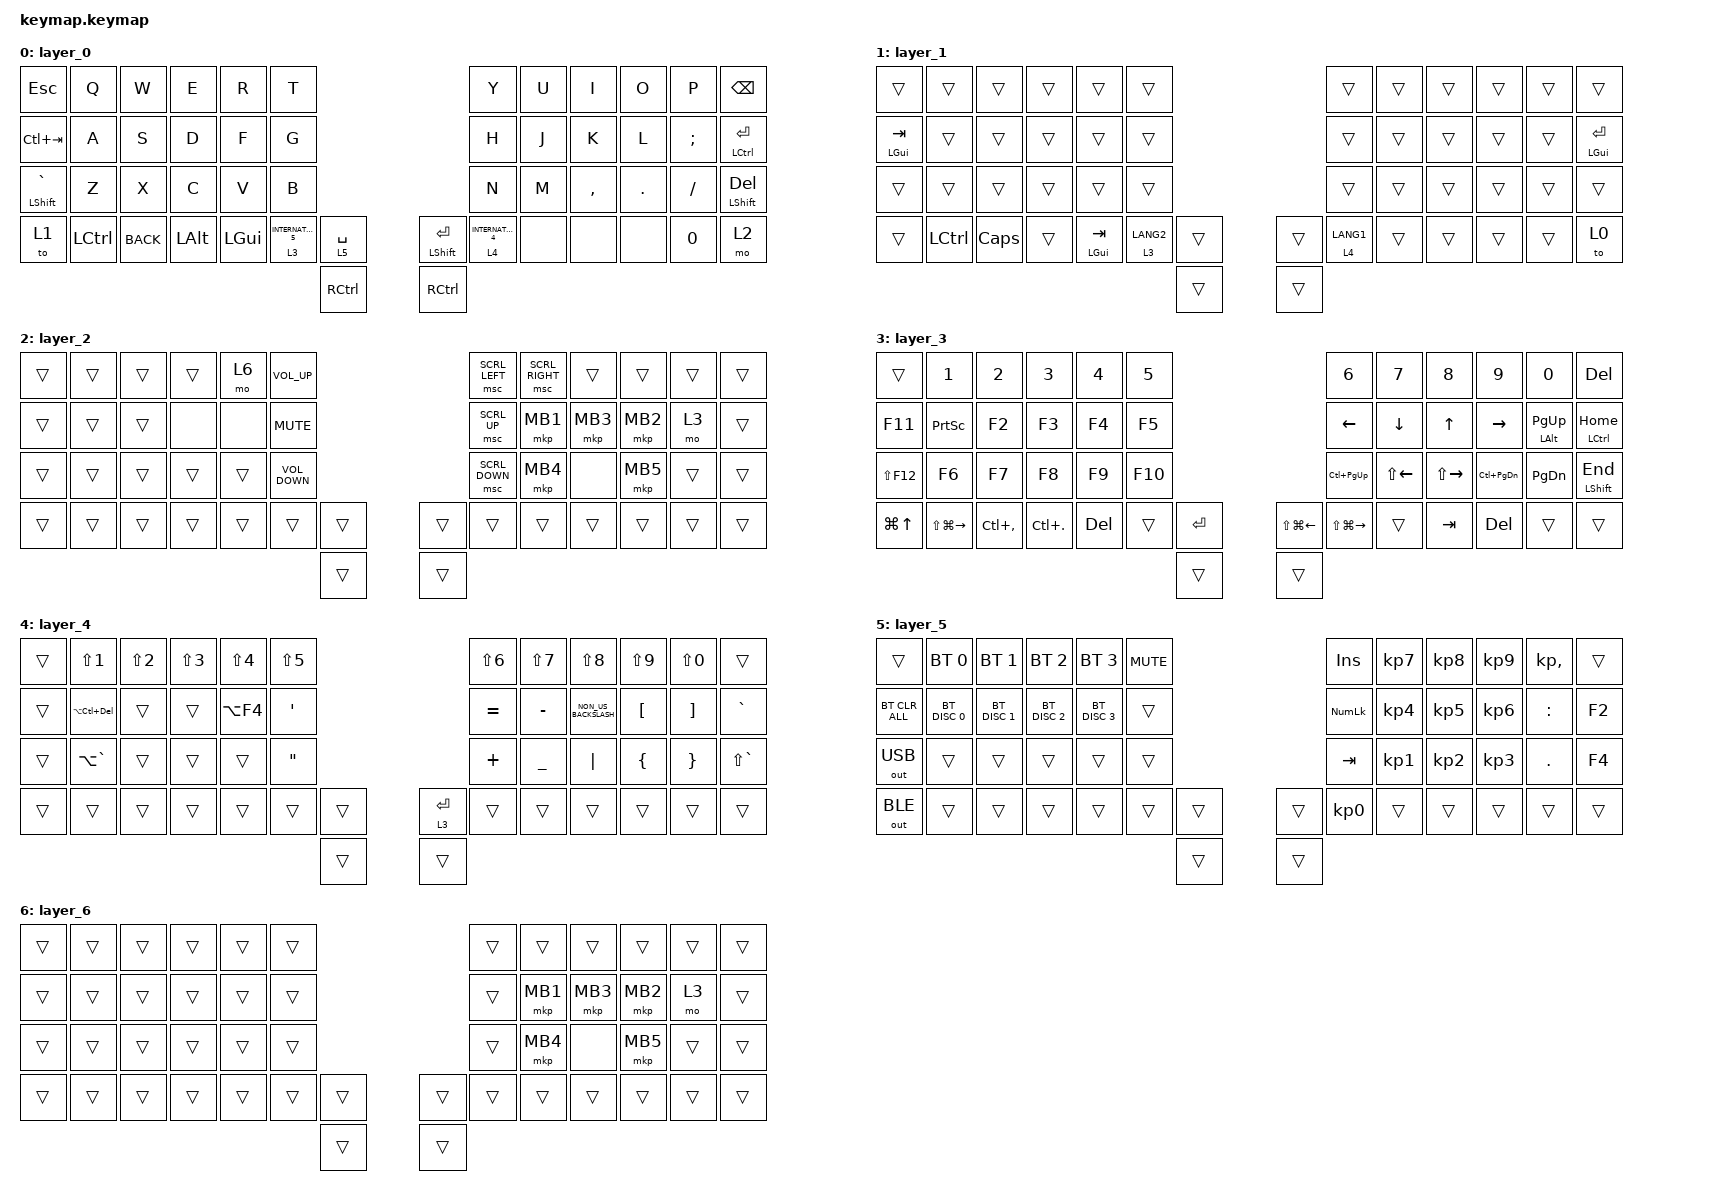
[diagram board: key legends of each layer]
#include <behaviors.dtsi>
#include <dt-bindings/zmk/bt.h>
#include <dt-bindings/zmk/keys.h>
#include <dt-bindings/zmk/outputs.h>
#include <dt-bindings/zmk/pointing.h>

/ {
    combos {
        compatible = "zmk,combos";

        bt_clear {
            bindings = <&bt BT_CLR>;
            key-positions = <28 29>;
            layers = <2>;
        };
    };

    keymap {
        compatible = "zmk,keymap";

        layer_0 {
            bindings = <
&kp ESC               &kp Q             &kp W       &kp E         &kp R     &kp T                                                     &kp Y                  &kp U  &kp I      &kp O       &kp P      &kp BSPC
&kp LC(TAB)           &kp A             &kp S       &kp D         &kp F     &kp G                                                     &kp H                  &kp J  &kp K      &kp L       &kp SEMI   &mt LEFT_CONTROL ENTER
&mt LEFT_SHIFT GRAVE  &kp Z             &kp X       &kp C         &kp V     &kp B                                                     &kp N                  &kp M  &kp COMMA  &kp PERIOD  &kp SLASH  &mt LEFT_SHIFT DELETE
&to 1                 &kp LEFT_CONTROL  &kp K_BACK  &kp LEFT_ALT  &kp LGUI  &lt 3 INTERNATIONAL_5  &lt 5 SPACE  &mt LEFT_SHIFT ENTER  &lt 4 INTERNATIONAL_4  &none  &none      &none       &kp N0     &mo 2
&kp RCTRL             &kp RCTRL
            >;
        };

        layer_1 {
            bindings = <
&trans            &trans            &trans        &trans  &trans            &trans                       &trans       &trans  &trans  &trans  &trans  &trans
&mt LEFT_GUI TAB  &trans            &trans        &trans  &trans            &trans                       &trans       &trans  &trans  &trans  &trans  &mt LEFT_GUI ENTER
&trans            &trans            &trans        &trans  &trans            &trans                       &trans       &trans  &trans  &trans  &trans  &trans
&trans            &kp LEFT_CONTROL  &kp CAPSLOCK  &trans  &mt LEFT_GUI TAB  &lt 3 LANG2  &trans  &trans  &lt 4 LANG1  &trans  &trans  &trans  &trans  &to 0
&trans            &trans
            >;
        };

        layer_2 {
            bindings = <
&trans  &trans  &trans  &trans  &mo 6   &kp C_VOLUME_UP                    &msc SCRL_LEFT  &msc SCRL_RIGHT  &trans    &trans    &trans  &trans
&trans  &trans  &trans  &none   &none   &kp K_MUTE                         &msc SCRL_UP    &mkp MB1         &mkp MB3  &mkp MB2  &mo 3   &trans
&trans  &trans  &trans  &trans  &trans  &kp C_VOLUME_DOWN                  &msc SCRL_DOWN  &mkp MB4         &none     &mkp MB5  &trans  &trans
&trans  &trans  &trans  &trans  &trans  &trans             &trans  &trans  &trans          &trans           &trans    &trans    &trans  &trans
&trans  &trans
            >;
        };

        layer_3 {
            bindings = <
&trans            &kp NUMBER_1       &kp NUMBER_2   &kp N3          &kp N4      &kp N5                                &kp N6             &kp N7        &kp N8         &kp N9             &kp N0                &kp DELETE
&kp F11           &kp PSCRN          &kp F2         &kp F3          &kp F4      &kp F5                                &kp LEFT           &kp DOWN      &kp UP_ARROW   &kp RIGHT          &mt LEFT_ALT PAGE_UP  &mt LEFT_CONTROL HOME
&kp LS(F12)       &kp F6             &kp F7         &kp F8          &kp F9      &kp F10                               &kp LC(PAGE_UP)    &kp LS(LEFT)  &kp LS(RIGHT)  &kp LC(PAGE_DOWN)  &kp PAGE_DOWN         &mt LEFT_SHIFT END
&kp LG(UP_ARROW)  &kp LS(LG(RIGHT))  &kp LC(COMMA)  &kp LC(PERIOD)  &kp DELETE  &trans   &kp ENTER  &kp LS(LG(LEFT))  &kp LS(LG(RIGHT))  &trans        &kp TAB        &kp DEL            &trans                &trans
&trans            &trans
            >;
        };

        layer_4 {
            bindings = <
&trans  &kp LS(NUMBER_1)    &kp LS(NUMBER_2)  &kp LS(NUMBER_3)  &kp LS(NUMBER_4)  &kp LS(N5)                              &kp LS(NUMBER_6)  &kp LS(N7)      &kp LS(N8)            &kp LS(NUMBER_9)  &kp LS(N0)         &trans
&trans  &kp LA(LC(DELETE))  &trans            &trans            &kp LA(F4)        &kp SQT                                 &kp EQUAL         &kp MINUS       &kp NON_US_BACKSLASH  &kp LEFT_BRACKET  &kp RIGHT_BRACKET  &kp GRAVE
&trans  &kp LA(GRAVE)       &trans            &trans            &trans            &kp DOUBLE_QUOTES                       &kp PLUS          &kp UNDERSCORE  &kp PIPE              &kp LEFT_BRACE    &kp RIGHT_BRACE    &kp LS(GRAVE)
&trans  &trans              &trans            &trans            &trans            &trans             &trans  &lt 3 ENTER  &trans            &trans          &trans                &trans            &trans             &trans
&trans  &trans
            >;
        };

        layer_5 {
            bindings = <
&trans          &bt BT_SEL 0   &bt BT_SEL 1   &bt BT_SEL 2   &bt BT_SEL 3   &kp K_MUTE                  &kp INSERT       &kp KP_NUMBER_7  &kp KP_NUMBER_8  &kp KP_NUMBER_9  &kp KP_COMMA  &trans
&bt BT_CLR_ALL  &bt BT_DISC 0  &bt BT_DISC 1  &bt BT_DISC 2  &bt BT_DISC 3  &trans                      &kp KP_NUMLOCK   &kp KP_NUMBER_4  &kp KP_NUMBER_5  &kp KP_NUMBER_6  &kp COLON     &kp F2
&out OUT_USB    &trans         &trans         &trans         &trans         &trans                      &kp TAB          &kp KP_NUMBER_1  &kp KP_NUMBER_2  &kp KP_NUMBER_3  &kp PERIOD    &kp F4
&out OUT_BLE    &trans         &trans         &trans         &trans         &trans      &trans  &trans  &kp KP_NUMBER_0  &trans           &trans           &trans           &trans        &trans
&trans          &trans
            >;
        };

        layer_6 {
            bindings = <
&trans  &trans  &trans  &trans  &trans  &trans                  &trans  &trans    &trans    &trans    &trans  &trans
&trans  &trans  &trans  &trans  &trans  &trans                  &trans  &mkp MB1  &mkp MB3  &mkp MB2  &mo 3   &trans
&trans  &trans  &trans  &trans  &trans  &trans                  &trans  &mkp MB4  &none     &mkp MB5  &trans  &trans
&trans  &trans  &trans  &trans  &trans  &trans  &trans  &trans  &trans  &trans    &trans    &trans    &trans  &trans
&trans  &trans
            >;
        };
    };
};
